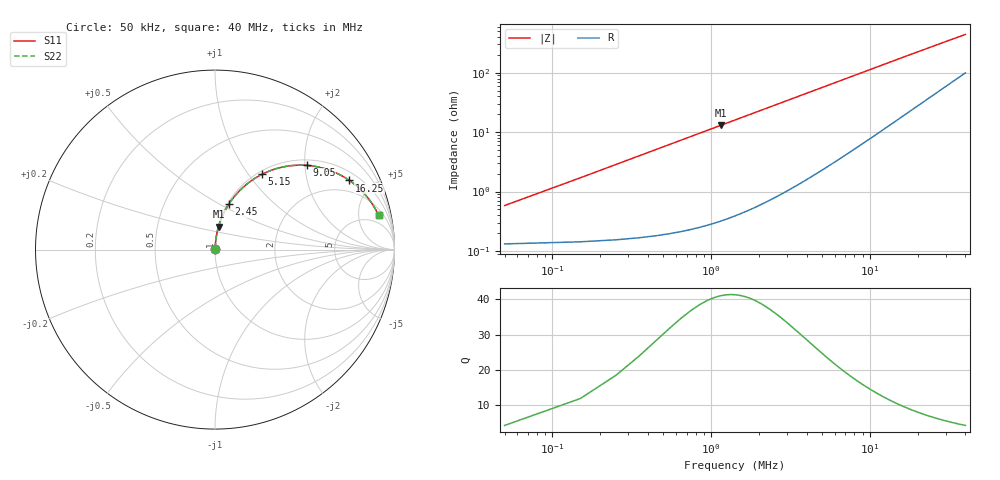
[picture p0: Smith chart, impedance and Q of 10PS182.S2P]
! Coilcraft 1008PS-182 Power Chip Inductor
! 7 October 2002
# MHZ S MA R 50
!Freq  MagS11  AngS11  MagS21  AngS21  MagS12  AngS12  MagS22  AngS22
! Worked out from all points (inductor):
!   401 points, 50 kHz to 40 MHz, reference 50 ohm
!   read as one part in series: L = 1.8 uH near 250 kHz
!   highest Q = 41 at 1.15 MHz (marker M1), where L = 1.8 uH
!   S11 on the Smith chart (normalised r, x): 50 kHz: 1.00, +0.01; 2.45 MHz: 1.02, +0.55; 5.15 MHz: 1.05, +1.16; 9.05 MHz: 1.13, +2.04; 16.25 MHz: 1.38, +3.64; 40 MHz: 2.99, +8.59
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0.05  0.005797 76.6  0.9987 -0.3  0.9987 -0.3  0.005797 76.6
0.15  0.017 84.2  0.9984 -1.0  0.9984 -1.0  0.017 84.2
0.35  0.03954 85.3  0.9976 -2.3  0.9976 -2.3  0.03954 85.3
0.45  0.05079 85.1  0.9969 -2.9  0.9969 -2.9  0.05079 85.1
0.55  0.06202 84.6  0.9961 -3.6  0.9961 -3.6  0.06202 84.6
0.75  0.08439 83.6  0.9941 -4.8  0.9941 -4.8  0.08439 83.6
0.95  0.1066 82.4  0.9916 -6.1  0.9916 -6.1  0.1066 82.4
1.15  0.1287 81.2  0.9886 -7.4  0.9886 -7.4  0.1287 81.2
1.45  0.1613 79.3  0.983 -9.3  0.983 -9.3  0.1613 79.3
1.75  0.1933 77.4  0.9763 -11.1  0.9763 -11.1  0.1933 77.4
2.45  0.2653 73.1  0.9569 -15.4  0.9569 -15.4  0.2653 73.1
3.65  0.3772 65.9  0.9137 -22.2  0.9137 -22.2  0.3772 65.9
5.15  0.4944 58.0  0.849 -29.6  0.849 -29.6  0.4944 58.0
6.75  0.5924 50.8  0.7764 -36.3  0.7764 -36.3  0.5924 50.8
9.05  0.6933 42.6  0.6782 -43.8  0.6782 -43.8  0.6933 42.6
11.15  0.7559 36.8  0.6007 -48.9  0.6007 -48.9  0.7559 36.8
13.45  0.8032 31.8  0.5297 -53.1  0.5297 -53.1  0.8032 31.8
16.25  0.8418 27.2  0.4602 -56.9  0.4602 -56.9  0.8418 27.2
20.05  0.8748 22.7  0.3885 -60.2  0.3885 -60.2  0.8748 22.7
26.75  0.9061 17.4  0.3031 -63.5  0.3031 -63.5  0.9061 17.4
33.35  0.9218 14.1  0.2489 -64.8  0.2489 -64.8  0.9218 14.1
40  0.931 11.9  0.2111 -65.1  0.2111 -65.1  0.931 11.9
